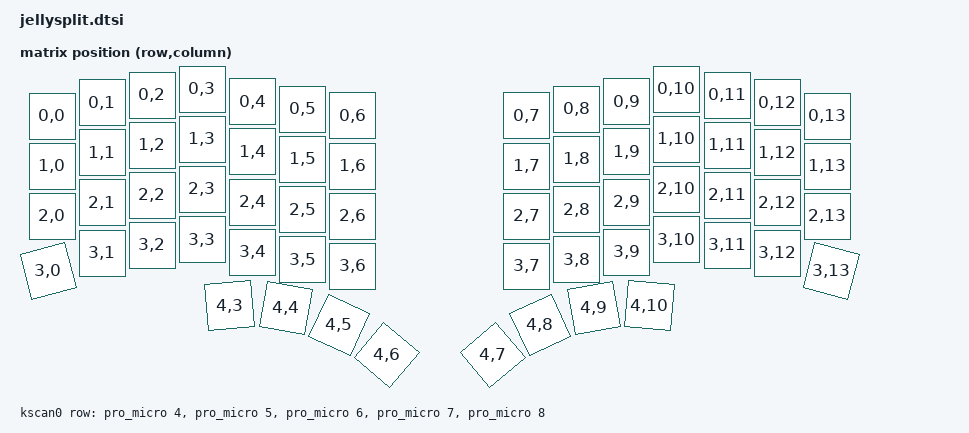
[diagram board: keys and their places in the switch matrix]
#include <dt-bindings/zmk/matrix_transform.h>
#include <dt-bindings/zmk/rgb.h>
#include <physical_layouts.dtsi>

/ {
    chosen {
        zephyr,display = &oled;
        zmk,kscan = &kscan0;
        zmk,physical-layout = &jellysplit_physical_layout;
    };

    default_transform: matrix_transform {
        compatible = "zmk,matrix-transform";
        columns = <14>;
        rows = <5>;

        map = <
            RC(0,0) RC(0,1) RC(0,2) RC(0,3) RC(0,4) RC(0,5) RC(0,6)  RC(0,7) RC(0,8) RC(0,9) RC(0,10) RC(0,11) RC(0,12) RC(0,13)
            RC(1,0) RC(1,1) RC(1,2) RC(1,3) RC(1,4) RC(1,5) RC(1,6)  RC(1,7) RC(1,8) RC(1,9) RC(1,10) RC(1,11) RC(1,12) RC(1,13)
            RC(2,0) RC(2,1) RC(2,2) RC(2,3) RC(2,4) RC(2,5) RC(2,6)  RC(2,7) RC(2,8) RC(2,9) RC(2,10) RC(2,11) RC(2,12) RC(2,13)
            RC(3,0) RC(3,1) RC(3,2) RC(3,3) RC(3,4) RC(3,5) RC(3,6)  RC(3,7) RC(3,8) RC(3,9) RC(3,10) RC(3,11) RC(3,12) RC(3,13)
                                    RC(4,3) RC(4,4) RC(4,5) RC(4,6)  RC(4,7) RC(4,8) RC(4,9) RC(4,10)
        >;
    };

    kscan0: kscan {
        compatible = "zmk,kscan-gpio-matrix";
        label = "KSCAN";
        diode-direction = "col2row";

        row-gpios = <&pro_micro 4 (GPIO_ACTIVE_HIGH | GPIO_PULL_DOWN)>,
                    <&pro_micro 5 (GPIO_ACTIVE_HIGH | GPIO_PULL_DOWN)>,
                    <&pro_micro 6 (GPIO_ACTIVE_HIGH | GPIO_PULL_DOWN)>,
                    <&pro_micro 7 (GPIO_ACTIVE_HIGH | GPIO_PULL_DOWN)>,
                    <&pro_micro 8 (GPIO_ACTIVE_HIGH | GPIO_PULL_DOWN)>;
    };

    jellysplit_physical_layout: jellysplit_physical_layout {
        compatible = "zmk,physical-layout";
        display-name = "JellySplit";

        kscan = <&kscan0>;
        transform = <&default_transform>;

        keys  //                     w   h    x    y     rot    rx    ry
            = <&key_physical_attrs 100 100    8   54       0     0     0>
            , <&key_physical_attrs 100 100  108   27       0     0     0>
            , <&key_physical_attrs 100 100  208   12       0     0     0>
            , <&key_physical_attrs 100 100  308    0       0     0     0>
            , <&key_physical_attrs 100 100  409   25       0     0     0>
            , <&key_physical_attrs 100 100  509   40       0     0     0>
            , <&key_physical_attrs 100 100  609   53       0     0     0>
            , <&key_physical_attrs 100 100  957   53       0     0     0>
            , <&key_physical_attrs 100 100 1057   40       0     0     0>
            , <&key_physical_attrs 100 100 1157   25       0     0     0>
            , <&key_physical_attrs 100 100 1257    0       0     0     0>
            , <&key_physical_attrs 100 100 1358   12       0     0     0>
            , <&key_physical_attrs 100 100 1458   27       0     0     0>
            , <&key_physical_attrs 100 100 1558   54       0     0     0>
            , <&key_physical_attrs 100 100    8  154       0     0     0>
            , <&key_physical_attrs 100 100  108  127       0     0     0>
            , <&key_physical_attrs 100 100  208  112       0     0     0>
            , <&key_physical_attrs 100 100  308  100       0     0     0>
            , <&key_physical_attrs 100 100  409  125       0     0     0>
            , <&key_physical_attrs 100 100  509  140       0     0     0>
            , <&key_physical_attrs 100 100  609  154       0     0     0>
            , <&key_physical_attrs 100 100  957  154       0     0     0>
            , <&key_physical_attrs 100 100 1057  140       0     0     0>
            , <&key_physical_attrs 100 100 1157  125       0     0     0>
            , <&key_physical_attrs 100 100 1257  100       0     0     0>
            , <&key_physical_attrs 100 100 1358  112       0     0     0>
            , <&key_physical_attrs 100 100 1458  127       0     0     0>
            , <&key_physical_attrs 100 100 1558  154       0     0     0>
            , <&key_physical_attrs 100 100    8  254       0     0     0>
            , <&key_physical_attrs 100 100  108  227       0     0     0>
            , <&key_physical_attrs 100 100  208  212       0     0     0>
            , <&key_physical_attrs 100 100  308  200       0     0     0>
            , <&key_physical_attrs 100 100  409  226       0     0     0>
            , <&key_physical_attrs 100 100  509  241       0     0     0>
            , <&key_physical_attrs 100 100  609  254       0     0     0>
            , <&key_physical_attrs 100 100  957  254       0     0     0>
            , <&key_physical_attrs 100 100 1057  241       0     0     0>
            , <&key_physical_attrs 100 100 1157  226       0     0     0>
            , <&key_physical_attrs 100 100 1257  200       0     0     0>
            , <&key_physical_attrs 100 100 1358  212       0     0     0>
            , <&key_physical_attrs 100 100 1458  227       0     0     0>
            , <&key_physical_attrs 100 100 1558  254       0     0     0>
            , <&key_physical_attrs 100 100    0  364 (-1500)    50   414>
            , <&key_physical_attrs 100 100  108  328       0     0     0>
            , <&key_physical_attrs 100 100  208  312       0     0     0>
            , <&key_physical_attrs 100 100  308  301       0     0     0>
            , <&key_physical_attrs 100 100  409  326       0     0     0>
            , <&key_physical_attrs 100 100  509  341       0     0     0>
            , <&key_physical_attrs 100 100  609  354       0     0     0>
            , <&key_physical_attrs 100 100  957  354       0     0     0>
            , <&key_physical_attrs 100 100 1057  341       0     0     0>
            , <&key_physical_attrs 100 100 1157  326       0     0     0>
            , <&key_physical_attrs 100 100 1257  301       0     0     0>
            , <&key_physical_attrs 100 100 1358  312       0     0     0>
            , <&key_physical_attrs 100 100 1458  328       0     0     0>
            , <&key_physical_attrs 100 100 1566  364    1500  1616   414>
            , <&key_physical_attrs 100 100  363  433  (-500)   413   483>
            , <&key_physical_attrs 100 100  475  438    1000   525   488>
            , <&key_physical_attrs 100 100  582  472    2500   632   522>
            , <&key_physical_attrs 100 100  677  532    4000   727   582>
            , <&key_physical_attrs 100 100  889  532 (-4000)   939   582>
            , <&key_physical_attrs 100 100  984  472 (-2500)  1034   522>
            , <&key_physical_attrs 100 100 1091  438 (-1000)  1141   488>
            , <&key_physical_attrs 100 100 1203  433     500  1253   483>
            ;
    };
};


&pro_micro_i2c {
    status = "okay";

    oled: ssd1306@3c {
        compatible = "solomon,ssd1306fb";
        reg = <0x3c>;
        label = "DISPLAY";
        width = <128>;
        height = <32>;
        segment-offset = <0>;
        page-offset = <0>;
        display-offset = <0>;
        multiplex-ratio = <31>;
        segment-remap;
        com-invdir;
        com-sequential;
        prechargep = <0x22>;
        inversion-on;
    };
};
